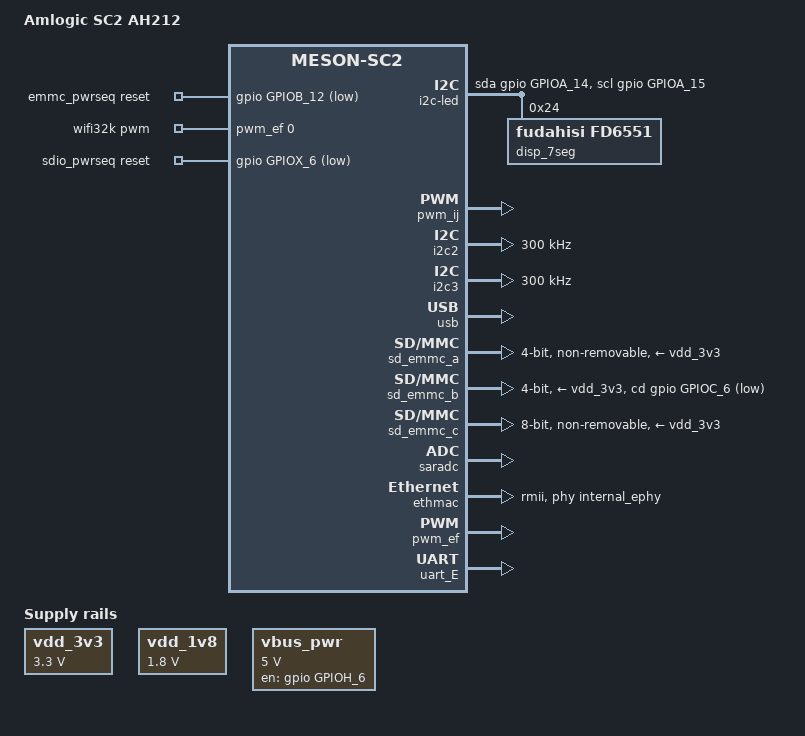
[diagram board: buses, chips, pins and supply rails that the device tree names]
// SPDX-License-Identifier: (GPL-2.0+ OR MIT)
/*
 * Copyright (c) 2019 Amlogic, Inc. All rights reserved.
 */

/dts-v1/;

#include <dt-bindings/input/input.h>
#include <dt-bindings/leds/common.h>
#include "meson-sc2.dtsi"

/ {
	model = "Amlogic SC2 AH212 ";
	compatible = "amlogic,sc2";
	interrupt-parent = <&gic>;
	#address-cells = <2>;
	#size-cells = <2>;

	aliases {
		serial0 = &uart_B;
		serial1 = &uart_E;
		serial2 = &uart_C;
		serial3 = &uart_D;
		serial4 = &uart_A;
		i2c0 = &i2c0;
		i2c1 = &i2c1;
		i2c2 = &i2c2;
		i2c3 = &i2c3;
		i2c4 = &i2c4;
		spi1 = &spicc0;
		spi2 = &spicc1;
	};

	memory {
		device_type = "memory";
		linux,usable-memory = <0x0 0x000000 0x0 0x80000000>;
	};

	chosen {
		stdout-path = "serial0:115200n8";
	};

	emmc_pwrseq: emmc-pwrseq {
		compatible = "mmc-pwrseq-emmc";
		reset-gpios = <&gpio GPIOB_12 GPIO_ACTIVE_LOW>;
	};

	wifi32k: wifi32k {
		compatible = "pwm-clock";
		#clock-cells = <0>;
		clock-frequency = <32768>;
		pwms = <&pwm_ef 0 30518 0>; /* PWM_E at 32.768KHz */
	};

	sdio_pwrseq: sdio-pwrseq {
		compatible = "mmc-pwrseq-simple";
		reset-gpios = <&gpio GPIOX_6 GPIO_ACTIVE_LOW>;
		clocks = <&wifi32k>;
		clock-names = "ext_clock";
	};

	vdd_3v3: regulator-vdd_3v3 {
                compatible = "regulator-fixed";
                regulator-name = "VDD_3V3";
                regulator-min-microvolt = <3300000>;
                regulator-max-microvolt = <3300000>;
        };

	vdd_1v8: regulator-vdd_1v8 {
                compatible = "regulator-fixed";
                regulator-name = "VDD_1V8";
                regulator-min-microvolt = <1800000>;
                regulator-max-microvolt = <1800000>;
        };

	vbus_pwr: regulator-vbus_pwr {
		compatible = "regulator-fixed";
		regulator-name = "VBUS_PWR";
		regulator-min-microvolt = <5000000>;
		regulator-max-microvolt = <5000000>;
//		vin-supply = <&vcc_5v>;

		gpio = <&gpio GPIOH_6 GPIO_ACTIVE_HIGH>;
		enable-active-high;
	};

	reserved-memory {
		#address-cells = <2>;
		#size-cells = <2>;
		ranges;

		/* 16 MiB reserved for Hardware ROM Firmware */
		hwrom_reserved: hwrom@0 {
			reg = <0x0 0x0 0x0 0x1000000>;
			no-map;
		};

		/* Reserved for ARM Trusted Firmware (BL31) */
		secmon_reserved1: secmon@10000000 {
			reg = <0x0 0x10000000 0x0 0x200000>;
			no-map;
		};

		/* Reserved for ARM Trusted Firmware (BL31) */
		secmon_reserved2: secmon@5000000 {
			reg = <0x0 0x05000000 0x0 0x3400000>;
			no-map;
		};

		linux,cma {
			compatible = "shared-dma-pool";
			reusable;
			size = <0x0 0xbc00000>;
			alignment = <0x0 0x400000>;
			linux,cma-default;
		};

	};

	cpu_opp_table0: cpu_opp_table0 {
		compatible = "operating-points-v2";
		status = "okay";
		opp-shared;

		opp00 {
			opp-hz = /bits/ 64 <100000000>;
			opp-microvolt = <779000>;
		};
		opp01 {
			opp-hz = /bits/ 64 <250000000>;
			opp-microvolt = <779000>;
		};
		opp02 {
			opp-hz = /bits/ 64 <500000000>;
			opp-microvolt = <779000>;
		};
		opp03 {
			opp-hz = /bits/ 64 <667000000>;
			opp-microvolt = <799000>;
		};
		opp04 {
			opp-hz = /bits/ 64 <1000000000>;
			opp-microvolt = <799000>;
		};
		opp05 {
			opp-hz = /bits/ 64 <1200000000>;
			opp-microvolt = <809000>;
		};
		opp06 {
			opp-hz = /bits/ 64 <1404000000>;
			opp-microvolt = <839000>;
		};
		opp07 {
			opp-hz = /bits/ 64 <1500000000>;
			opp-microvolt = <849000>;
		};
		opp08 {
			opp-hz = /bits/ 64 <1608000000>;
			opp-microvolt = <879000>;
		};
		opp09 {
			opp-hz = /bits/ 64 <1704000000>;
			opp-microvolt = <919000>;
		};
		opp10 {
			opp-hz = /bits/ 64 <1800000000>;
			opp-microvolt = <959000>;
		};
		opp11 {
			opp-hz = /bits/ 64 <1908000000>;
			opp-microvolt = <989000>;
		};
		opp12 {
			opp-hz = /bits/ 64 <2004000000>;
			opp-microvolt = <1019000>;
		};
	};

	cpufreq-meson {
		compatible = "amlogic,cpufreq-meson";
		status = "okay";
	};

	i2c-led {
		compatible = "i2c-gpio";
		sda-gpios = <&gpio GPIOA_14 GPIO_ACTIVE_HIGH>;
		i2c-gpio,sda-output-only;
		scl-gpios = <&gpio GPIOA_15 GPIO_ACTIVE_HIGH>;
		i2c-gpio,scl-output-only;
		i2c-gpio,delay-us = <5>;
		#address-cells = <1>;
		#size-cells = <0>;

		disp_7seg@24 {
			compatible = "fudahisi,fd6551";
			reg = <0x24>, <0x37>, <0x36>, <0x35>, <0x34>, <0x33>;
			reg-names = "cmd", "grid_0", "grid_1", "grid_2", "grid_3", "symbols";
			#address-cells = <1>;
			#size-cells = <0>;

			fudahisi,segment-mapping = /bits/ 8 <0 1 2 3 4 5 6>;

			led@0 {
				reg = <0>;
				function = LED_FUNCTION_ALARM;
			};

			led@1 {
				reg = <1>;
				function = LED_FUNCTION_USB;
			};

			led@2 {
				reg = <2>;
				function = "pause";
			};

			led@3 {
				reg = <3>;
				function = "play";
			};

			led@4 {
				reg = <4>;
				function = "colon";
			};

			led@5 {
				reg = <5>;
				function = LED_FUNCTION_LAN;
			};

			led@6 {
				reg = <6>;
				function = LED_FUNCTION_WLAN;
			};
		};
	};
};

&pwm_ij {
	status = "okay";
};

&i2c2 {
	status = "okay";
	pinctrl-names="default";
	pinctrl-0=<&i2c2_pins3>;
	clock-frequency = <300000>;
};

&i2c3 {
	status = "okay";
	pinctrl-names="default";
	pinctrl-0=<&i2c3_pins2>;
	clock-frequency = <300000>; /* default 100k */
};

&vddcpu0 {
	status = "okay";
};

&periphs_pinctrl {
	tdm_a: tdm_a {
		mux { /* GPIOX_11, GPIOX_10, GPIOX_8, GPIOX_9 */
			groups = "tdm_sclk0",
				"tdm_fs0",
				"tdm_d3",
				"tdm_d4";
			function = "tdm";
		};
	};

	tdmin_a: tdmin_a {
		mux { /* GPIOX_8 */
			groups = "tdma_din1";
			function = "tdma_in";
		};
	};

	tdmb_mclk: tdmb_mclk {
		mux {
			groups = "mclk0_a";
			function = "mclk0";
		};
	};
	tdmout_b: tdmout_b {
		mux { /* GPIOA_1, GPIOA_2, GPIOA_3 */
			groups = "tdmb_sclk",
				"tdmb_fs",
				"tdmb_dout0";
			function = "tdmb_out";
		};
	};

	tdmin_b:tdmin_b {
		mux { /* GPIOA_4 */
			groups = "tdmb_din1"
				/*,"tdmb_slv_sclk", "tdmb_slv_fs"*/;
			function = "tdmb_in";
		};
	};

	tdmc_mclk: tdmc_mclk {
		mux { /* GPIOA_11 */
			groups = "mclk1_a";
			function = "mclk1";
		};
	};

	tdmout_c:tdmout_c {
		mux { /* GPIOA_12, GPIOA_13 */
			groups = "tdmc_sclk_a",
				"tdmc_fs_a"
				/*, "tdmc_dout0_a"
				 *,	"tdmc_dout2"
				 *, "tdmc_dout3"
				 */;
			function = "tdmc_out";
		};
	};

	tdmin_c:tdmin_c {
		mux { /* GPIOA_10 */
			groups = "tdmc_din0_a";
			function = "tdmc_in";
		};
	};

	spdifin: spdifin {
		mux {/* GPIOH_5 */
			groups = "spdif_in_h";
			function = "spdif_in";
		};
	};

	pdmin: pdmin {
		mux { /* GPIOC_0, GPIOC_4 */
			groups = "pdm_din0_c",
				"pdm_dclk_c";
			function = "pdm";
		};
	};

	spdifout: spdifout {
		mux { /* GPIOD_10 */
			groups = "spdif_out_d";
			function = "spdif_out";
		};
	};

	spdifout_a_mute: spdifout_a_mute {
		mux { /* GPIOD_10 */
			groups = "GPIOD_10";
			function = "gpio_periphs";
			output-low;
		};
	};

	dvb_s_ts0_pins: dvb_s_ts0_pins {
		tsin_a {
			groups = "tsin_a_sop_d",
				"tsin_a_valid_d",
				"tsin_a_clk_d",
				"tsin_a_din0_d";
			function = "tsin_a";
		};
	};

	dvb_s_ts1_pins: dvb_s_ts1_pins {
		tsin_b {
			groups = "tsin_b_sop",
				"tsin_b_valid",
				"tsin_b_clk",
				"tsin_b_din0";
			function = "tsin_b";
		};
	};

	dvb_s_ts2_pins: dvb_s_ts2_pins {
		tsin_c {
			groups = "tsin_c_sop_z",
				"tsin_c_valid_z",
				"tsin_c_clk_z",
				"tsin_c_din0_z";
			function = "tsin_c";
		};
	};

	dvb_s_ts3_pins: dvb_s_ts3_pins {
		tsin_d {
			groups = "tsin_d_sop_z",
				"tsin_d_valid_z",
				"tsin_d_clk_z",
				"tsin_d_din0_z";
			function = "tsin_d";
		};
	};
}; /* end of periphs_pinctrl */

&usb {
	status = "okay";
};

/* SDIO */
&sd_emmc_a {
	status = "okay";
	pinctrl-0 = <&sdio_pins>;
	pinctrl-1 = <&sdio_clk_gate_pins>;
	pinctrl-names = "default", "clk-gate";
	#address-cells = <1>;
	#size-cells = <0>;

	bus-width = <4>;
	cap-sd-highspeed;
	sd-uhs-sdr50;
	sd-uhs-ddr50;
	sd-uhs-sdr104;
	max-frequency = <200000000>;

	non-removable;
	disable-wp;

	mmc-pwrseq = <&sdio_pwrseq>;
	vmmc-supply = <&vdd_3v3>;
	vqmmc-supply = <&vdd_1v8>;
};

/* SD card */
&sd_emmc_b {
	status = "okay";
	pinctrl-0 = <&sdcard_pins>;
	pinctrl-1 = <&sdcard_clk_gate_pins>;
	pinctrl-names = "sd_default", "clk-gate";

	bus-width = <4>;
	cap-sd-highspeed;
	max-frequency = <200000000>;
	disable-wp;

	cd-gpios = <&gpio GPIOC_6 GPIO_ACTIVE_HIGH>;
	cd-inverted;
	vmmc-supply = <&vdd_3v3>;
	vqmmc-supply = <&vdd_1v8>;
};

&sd_emmc_c {
	status = "okay";
	pinctrl-0 = <&emmc_pins>, <&emmc_ds_pins>;
	pinctrl-1 = <&emmc_clk_gate_pins>;
	pinctrl-names = "default", "clk-gate";

	bus-width = <8>;
	cap-mmc-highspeed;
	mmc-ddr-1_8v;
	mmc-hs200-1_8v;
	mmc-hs400-1_8v;
	max-frequency = <200000000>;
	non-removable;
	disable-wp;

	mmc-pwrseq = <&emmc_pwrseq>;
	vmmc-supply = <&vdd_3v3>;
	vqmmc-supply = <&vdd_1v8>;
};

&saradc {
	status = "okay";
};

&ethmac {
	status = "okay";
	phy-handle = <&internal_ephy>;
	phy-mode = "rmii";
};

&spicc0 {
	status = "disabled";
	pinctrl-names = "default";
	pinctrl-0 = <&spicc0_pins_x>;
	cs-gpios = <&gpio GPIOX_10 0>;
};

&spicc1 {
	status = "disabled";
	pinctrl-names = "default";
	pinctrl-0 = <&spicc1_pins_h>;
	cs-gpios = <&gpio GPIOH_6 0>;
};

&pwm_ef {
	pinctrl-0 = <&pwm_e_pins>;
	pinctrl-names = "default";
	status = "okay";
};

&uart_E {
	status = "okay";
	uart-has-rtscts;
};
